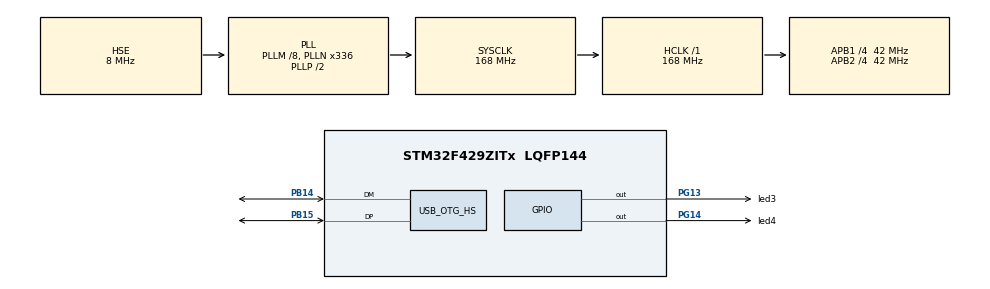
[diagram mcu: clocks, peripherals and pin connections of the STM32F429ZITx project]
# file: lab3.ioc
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Mcu.Family=STM32F4
NVIC.OTG_HS_IRQn=true\:0\:0\:false\:false\:true\:true\:true
VP_USB_DEVICE_VS_USB_DEVICE_CDC_HS.Mode=CDC_HS
RCC.CortexFreq_Value=168000000
RCC.APB1CLKDivider=RCC_HCLK_DIV4
PB15.Signal=USB_OTG_HS_DP
USB_OTG_HS.VirtualMode-Device_Only_FS=Device_Only_FS
PG13.GPIO_Label=led3
PG13.Signal=GPIO_Output
RCC.SYSCLKSource=RCC_SYSCLKSOURCE_PLLCLK
ProjectManager.StackSize=0x400
PA13.Signal=SYS_JTMS-SWDIO
ProjectManager.TargetToolchain=STM32CubeIDE
PH0/OSC_IN.Mode=HSE-External-Oscillator
RCC.HCLKFreq_Value=168000000
RCC.APB2TimFreq_Value=84000000
PH1/OSC_OUT.Signal=RCC_OSC_OUT
RCC.LSE_VALUE=32768
USB_DEVICE.VirtualMode-CDC_HS=Cdc
RCC.AHBFreq_Value=168000000
PB14.Signal=USB_OTG_HS_DM
PG14.Signal=GPIO_Output
RCC.HSE_VALUE=8000000
board=custom
RCC.VCOOutputFreq_Value=336000000
PB15.Mode=Device_Only_FS
PH0/OSC_IN.Signal=RCC_OSC_IN
RCC.APB2Freq_Value=42000000
PA14.Mode=Serial_Wire
PB14.Mode=Device_Only_FS
PA13.Mode=Serial_Wire
PG14.GPIO_Label=led4
PH1/OSC_OUT.Mode=HSE-External-Oscillator
Mcu.Name=STM32F429ZITx
RCC.48MHZClocksFreq_Value=48000000
RCC.SYSCLKFreq_VALUE=168000000
Mcu.Package=LQFP144
PA14.Signal=SYS_JTCK-SWCLK
USB_DEVICE.CLASS_NAME_HS=CDC
ProjectManager.HeapSize=0x2000
RCC.HSI_VALUE=16000000
RCC.PLLQ=7
NVIC.PriorityGroup=NVIC_PRIORITYGROUP_4
USB_DEVICE.VirtualModeHS=Cdc_HS
RCC.APB2CLKDivider=RCC_HCLK_DIV4
RCC.PLLM=8
RCC.PLLN=336
RCC.APB1TimFreq_Value=84000000
PG13.GPIO_Speed=GPIO_SPEED_FREQ_HIGH
RCC.APB1Freq_Value=42000000
PG14.GPIO_Speed=GPIO_SPEED_FREQ_HIGH

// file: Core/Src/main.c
/* USER CODE BEGIN Header */
/**
  ******************************************************************************
  * @file           : main.c
  * @brief          : Main program body
  ******************************************************************************
  * @attention
  *
  * <h2><center>&copy; Copyright (c) 2022 STMicroelectronics.
  * All rights reserved.</center></h2>
  *
  * This software component is licensed by ST under BSD 3-Clause license,
  * the "License"; You may not use this file except in compliance with the
  * License. You may obtain a copy of the License at:
  *                        opensource.org/licenses/BSD-3-Clause
  *
  ******************************************************************************
  */
/* USER CODE END Header */
#include "main.h"
#include "usb_device.h"
#include "usbd_cdc_if.h"
#include "stm32f429i_discovery_lcd.h"

/* USER CODE BEGIN PTD */
uint8_t* msg;
uint32_t *ln;
volatile uint8_t msgcome;

/* USER CODE END PTD */

void SystemClock_Config(void);
static void MX_GPIO_Init(void);

/* USER CODE BEGIN 0 */

uint8_t CompareString(uint8_t* a, const char* b){
	uint8_t same = 1,i = 0;
	while(a[i] != '\0' && b[i] != '\0'){
		if(a[i] != b[i]){
			same = 0;
			break;
		}
		i++;
	}
	return same;
}

uint8_t * msggg = "Do you want to turn on light?";
uint8_t len = 30;

uint8_t HandleMsg(void){
	if(CompareString(msg,"Hello STM")) {
		BSP_LCD_ClearStringLine(1);
		BSP_LCD_DisplayStringAtLine(1,"Do you want to");
		BSP_LCD_DisplayStringAtLine(2,"      turn on light?");
		return 1;
	}
	if(CompareString(msg,"Turn on led 3")) {
		HAL_GPIO_WritePin(GPIOG, led3_Pin, GPIO_PIN_SET);\
		BSP_LCD_ClearStringLine(2);
		BSP_LCD_DisplayStringAtLine(1,"Turned on led 3 ^^");
	}
	else if (CompareString(msg, "Turn off led 3")) {
		HAL_GPIO_WritePin(GPIOG, led3_Pin, GPIO_PIN_RESET);
		BSP_LCD_ClearStringLine(2);
		BSP_LCD_DisplayStringAtLine(1,"Turned off led 3 ^^");
	}
	else if (CompareString(msg,"Turn on led 4")) {
		HAL_GPIO_WritePin(GPIOG, led4_Pin, GPIO_PIN_SET);
		BSP_LCD_ClearStringLine(2);
		BSP_LCD_DisplayStringAtLine(1,"Turned on led 4 ^^");
	}
	else if (CompareString(msg, "Turn off led 4")) {
		HAL_GPIO_WritePin(GPIOG, led4_Pin, GPIO_PIN_RESET);
		BSP_LCD_ClearStringLine(2);
		BSP_LCD_DisplayStringAtLine(1,"Turned off led 4 ^^");
	}
	else if (CompareString(msg, "Goodnight")){
		BSP_LCD_ClearStringLine(2);
		BSP_LCD_DisplayStringAtLine(1,"Turned off all led ^^");
		BSP_LCD_DisplayStringAtLine(1,"  Goodnight!!!");
		HAL_GPIO_WritePin(GPIOG, led3_Pin, GPIO_PIN_RESET);
		HAL_GPIO_WritePin(GPIOG, led4_Pin, GPIO_PIN_RESET);
	}
	return 0;
}

/* USER CODE END 0 */

int main(void)
{

  /* MCU Configuration--------------------------------------------------------*/

  /* Reset of all peripherals, Initializes the Flash interface and the Systick. */
  HAL_Init();

  /* Configure the system clock */
  SystemClock_Config();

  /* Initialize all configured peripherals */
  MX_GPIO_Init();
  MX_USB_DEVICE_Init();
  /* USER CODE BEGIN 2 */
  BSP_LCD_Init();//init LCD
  BSP_LCD_LayerDefaultInit(1, SDRAM_DEVICE_ADDR);
  BSP_LCD_SelectLayer(1);//select on which layer we write
  BSP_LCD_DisplayOn();//turn on LCD
  BSP_LCD_Clear(LCD_COLOR_BLUE);//clear the LCD on blue color
  BSP_LCD_SetBackColor(LCD_COLOR_BLUE);//set text background color
  BSP_LCD_SetTextColor(LCD_COLOR_WHITE);//set text color
  //write text
  BSP_LCD_SetFont(&Font16);
  BSP_LCD_DisplayStringAtLine(1,"  Good evening,");
  BSP_LCD_DisplayStringAtLine(2,"it's too dark here");
  /* USER CODE END 2 */

  /* Infinite loop */
  while (1)
  {
	  if (msgcome == 1){
		 if(HandleMsg()) CDC_Transmit_HS(msggg,len);
		 else CDC_Transmit_HS(msg, *ln);
		 msgcome = 0;
	  }
  }
}

void SystemClock_Config(void)
{
  RCC_OscInitTypeDef RCC_OscInitStruct = {0};
  RCC_ClkInitTypeDef RCC_ClkInitStruct = {0};

  /** Configure the main internal regulator output voltage
  */
  __HAL_RCC_PWR_CLK_ENABLE();
  __HAL_PWR_VOLTAGESCALING_CONFIG(PWR_REGULATOR_VOLTAGE_SCALE1);
  /** Initializes the RCC Oscillators according to the specified parameters
  * in the RCC_OscInitTypeDef structure.
  */
  RCC_OscInitStruct.OscillatorType = RCC_OSCILLATORTYPE_HSE;
  RCC_OscInitStruct.HSEState = RCC_HSE_ON;
  RCC_OscInitStruct.PLL.PLLState = RCC_PLL_ON;
  RCC_OscInitStruct.PLL.PLLSource = RCC_PLLSOURCE_HSE;
  RCC_OscInitStruct.PLL.PLLM = 8;
  RCC_OscInitStruct.PLL.PLLN = 336;
  RCC_OscInitStruct.PLL.PLLP = RCC_PLLP_DIV2;
  RCC_OscInitStruct.PLL.PLLQ = 7;
  if (HAL_RCC_OscConfig(&RCC_OscInitStruct) != HAL_OK){
    Error_Handler();
  }
  /** Initializes the CPU, AHB and APB buses clocks
  */
  RCC_ClkInitStruct.ClockType = RCC_CLOCKTYPE_HCLK|RCC_CLOCKTYPE_SYSCLK
                              |RCC_CLOCKTYPE_PCLK1|RCC_CLOCKTYPE_PCLK2;
  RCC_ClkInitStruct.SYSCLKSource = RCC_SYSCLKSOURCE_PLLCLK;
  RCC_ClkInitStruct.AHBCLKDivider = RCC_SYSCLK_DIV1;
  RCC_ClkInitStruct.APB1CLKDivider = RCC_HCLK_DIV4;
  RCC_ClkInitStruct.APB2CLKDivider = RCC_HCLK_DIV4;

  if (HAL_RCC_ClockConfig(&RCC_ClkInitStruct, FLASH_LATENCY_5) != HAL_OK)
  {
    Error_Handler();
  }
}

static void MX_GPIO_Init(void)
{
  GPIO_InitTypeDef GPIO_InitStruct = {0};

  /* GPIO Ports Clock Enable */
  __HAL_RCC_GPIOH_CLK_ENABLE();
  __HAL_RCC_GPIOB_CLK_ENABLE();
  __HAL_RCC_GPIOA_CLK_ENABLE();
  __HAL_RCC_GPIOG_CLK_ENABLE();

  /*Configure GPIO pin Output Level */
  HAL_GPIO_WritePin(GPIOG, led3_Pin|led4_Pin, GPIO_PIN_RESET);

  /*Configure GPIO pins : led3_Pin led4_Pin */
  GPIO_InitStruct.Pin = led3_Pin|led4_Pin;
  GPIO_InitStruct.Mode = GPIO_MODE_OUTPUT_PP;
  GPIO_InitStruct.Pull = GPIO_NOPULL;
  GPIO_InitStruct.Speed = GPIO_SPEED_FREQ_HIGH;
  HAL_GPIO_Init(GPIOG, &GPIO_InitStruct);

}

void Error_Handler(void)
{
  __disable_irq();
  while (1)
  {
  }
}

/************************ (C) COPYRIGHT STMicroelectronics *****END OF FILE****/
